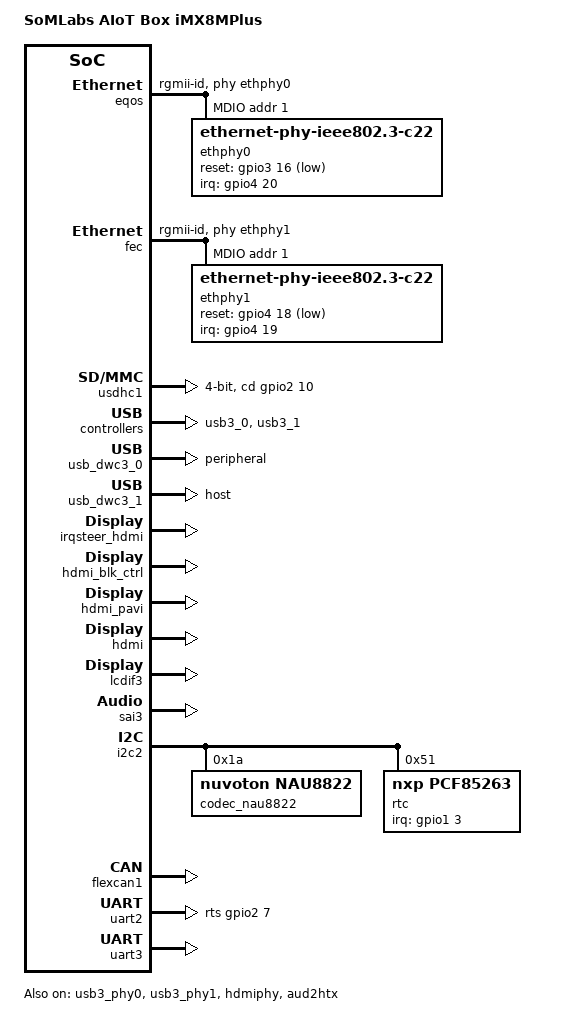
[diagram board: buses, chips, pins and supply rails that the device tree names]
// SPDX-License-Identifier: (GPL-2.0+ OR MIT)
/*
 * Copyright 2026 SomLabs
 *
 */
#include <dt-bindings/leds/common.h>
#include "spacesom-8mplus.dtsi"

/ {
        model = "SoMLabs AIoT Box iMX8MPlus";

        sound {
                /* generic sound card */
                compatible = "simple-audio-card";
                simple-audio-card,name = "nau8822";

                simple-audio-card,widgets =
                        "Headphones", "Headphones",
                        "Line Out", "Line Out",
                        "Speaker", "Speaker",
                        "Microphone", "Mic In";
                simple-audio-card,routing =
                        "Headphones", "LHP",
                        "Headphones", "RHP",
                        "Speaker", "LSPK",
                        "Speaker", "RSPK",
                        "Line Out", "AUXOUT1",
                        "Line Out", "AUXOUT2",
                        "LMICP",    "Mic In",
                        "RMICP",    "Mic In";

                simple-audio-card,format = "i2s";
                simple-audio-card,bitclock-master = <&dailink_master>;
                simple-audio-card,frame-master = <&dailink_master>;

                simple-audio-card,cpu {
                        sound-dai = <&sai3>;
                };

                dailink_master: simple-audio-card,codec {
                        sound-dai = <&codec_nau8822>;
                        clocks = <&audio_blk_ctrl IMX8MP_CLK_AUDIOMIX_SAI3_MCLK1>;
                        clock-names = "mclk";
                };
        };

        sound-hdmi {
                compatible = "fsl,imx-audio-cdnhdmi";
                model = "audio-hdmi";
                audio-cpu = <&aud2htx>;
                hdmi-out;
                constraint-rate = <44100>,
                                <88200>,
                                <176400>,
                                <32000>,
                                <48000>,
                                <96000>,
                                <192000>;
                status = "okay";
        };
};

&eqos {
        pinctrl-names = "default";
        pinctrl-0 = <&pinctrl_eqos>;
        phy-mode = "rgmii-id";
        phy-handle = <&ethphy0>;
        snps,force_thresh_dma_mode;
        snps,mtl-tx-config = <&mtl_tx_setup>;
        snps,mtl-rx-config = <&mtl_rx_setup>;
        status = "okay";

        mdio {
                compatible = "snps,dwmac-mdio";
                #address-cells = <1>;
                #size-cells = <0>;

                ethphy0: ethernet-phy@1 {
                        compatible = "ethernet-phy-ieee802.3-c22";
                        reg = <1>;
                        eee-broken-1000t;
                        reset-gpios = <&gpio3 16 GPIO_ACTIVE_LOW>;
                        reset-assert-us = <10000>;
                        reset-deassert-us = <80000>;
                        realtek,clkout-disable;
                        interrupt-parent = <&gpio4>;
                        interrupts = <20 IRQ_TYPE_LEVEL_LOW>;
                };
        };

        mtl_tx_setup: tx-queues-config {
                snps,tx-queues-to-use = <5>;
                snps,tx-sched-sp;
                queue0 {
                        snps,dcb-algorithm;
                        snps,priority = <0x1>;
                };
                queue1 {
                        snps,dcb-algorithm;
                        snps,priority = <0x2>;
                };
                queue2 {
                        snps,dcb-algorithm;
                        snps,priority = <0x4>;
                };
                queue3 {
                        snps,dcb-algorithm;
                        snps,priority = <0x8>;
                };
                queue4 {
                        snps,dcb-algorithm;
                        snps,priority = <0xf0>;
                };
        };

        mtl_rx_setup: rx-queues-config {
                snps,rx-queues-to-use = <5>;
                snps,rx-sched-sp;
                queue0 {
                        snps,dcb-algorithm;
                        snps,priority = <0x1>;
                        snps,map-to-dma-channel = <0>;
                };
                queue1 {
                        snps,dcb-algorithm;
                        snps,priority = <0x2>;
                        snps,map-to-dma-channel = <1>;
                };
                queue2 {
                        snps,dcb-algorithm;
                        snps,priority = <0x4>;
                        snps,map-to-dma-channel = <2>;
                };
                queue3 {
                        snps,dcb-algorithm;
                        snps,priority = <0x8>;
                        snps,map-to-dma-channel = <3>;
                };
                queue4 {
                        snps,dcb-algorithm;
                        snps,priority = <0xf0>;
                        snps,map-to-dma-channel = <4>;
                };
        };
};

&fec {
        pinctrl-names = "default";
        pinctrl-0 = <&pinctrl_fec>;
        phy-mode = "rgmii-id";
        phy-handle = <&ethphy1>;
        fsl,magic-packet;
        status = "okay";

        mdio {
                #address-cells = <1>;
                #size-cells = <0>;

                ethphy1: ethernet-phy@1 {
                        compatible = "ethernet-phy-ieee802.3-c22";
                        reg = <1>;
                        eee-broken-1000t;
                        reset-gpios = <&gpio4 18 GPIO_ACTIVE_LOW>;
                        reset-assert-us = <10000>;
                        reset-deassert-us = <80000>;
                        realtek,aldps-enable;
                        realtek,clkout-disable;
                        interrupt-parent = <&gpio4>;
                        interrupts = <19 IRQ_TYPE_LEVEL_LOW>;
                };
        };
};

&iomuxc {
        pinctrl-names = "default";
        pinctrl-0 = <&pinctrl_hog>;

        pinctrl_hog: hoggrp {
                fsl,pins = <
                        MX8MP_IOMUXC_HDMI_DDC_SCL__HDMIMIX_HDMI_SCL     0x400001c3
                        MX8MP_IOMUXC_HDMI_DDC_SDA__HDMIMIX_HDMI_SDA     0x400001c3
                        MX8MP_IOMUXC_HDMI_HPD__HDMIMIX_HDMI_HPD         0x40000019
                        MX8MP_IOMUXC_HDMI_CEC__HDMIMIX_HDMI_CEC         0x40000019

                        MX8MP_IOMUXC_GPIO1_IO00__GPIO1_IO00             0x19
                        MX8MP_IOMUXC_GPIO1_IO01__GPIO1_IO01             0x19

                        MX8MP_IOMUXC_GPIO1_IO04__GPIO1_IO04             0x1c0
                        MX8MP_IOMUXC_GPIO1_IO05__GPIO1_IO05             0x1c0
                        MX8MP_IOMUXC_GPIO1_IO06__GPIO1_IO06             0x1c0
                        MX8MP_IOMUXC_GPIO1_IO07__GPIO1_IO07             0x1c0

                        MX8MP_IOMUXC_GPIO1_IO08__GPIO1_IO08             0x19
                        MX8MP_IOMUXC_GPIO1_IO09__GPIO1_IO09             0x19
                        MX8MP_IOMUXC_GPIO1_IO10__GPIO1_IO10             0x19
                        MX8MP_IOMUXC_GPIO1_IO11__GPIO1_IO11             0x19
                >;
        };

        pinctrl_eqos: eqosgrp {
                fsl,pins = <
                        MX8MP_IOMUXC_ENET_MDC__ENET_QOS_MDC                             0x3
                        MX8MP_IOMUXC_ENET_MDIO__ENET_QOS_MDIO                           0x3
                        MX8MP_IOMUXC_ENET_RD0__ENET_QOS_RGMII_RD0                       0x91
                        MX8MP_IOMUXC_ENET_RD1__ENET_QOS_RGMII_RD1                       0x91
                        MX8MP_IOMUXC_ENET_RD2__ENET_QOS_RGMII_RD2                       0x91
                        MX8MP_IOMUXC_ENET_RD3__ENET_QOS_RGMII_RD3                       0x91
                        MX8MP_IOMUXC_ENET_RXC__CCM_ENET_QOS_CLOCK_GENERATE_RX_CLK       0x91
                        MX8MP_IOMUXC_ENET_RX_CTL__ENET_QOS_RGMII_RX_CTL                 0x91
                        MX8MP_IOMUXC_ENET_TD0__ENET_QOS_RGMII_TD0                       0x1f
                        MX8MP_IOMUXC_ENET_TD1__ENET_QOS_RGMII_TD1                       0x1f
                        MX8MP_IOMUXC_ENET_TD2__ENET_QOS_RGMII_TD2                       0x1f
                        MX8MP_IOMUXC_ENET_TD3__ENET_QOS_RGMII_TD3                       0x1f
                        MX8MP_IOMUXC_ENET_TX_CTL__ENET_QOS_RGMII_TX_CTL                 0x1f
                        MX8MP_IOMUXC_ENET_TXC__CCM_ENET_QOS_CLOCK_GENERATE_TX_CLK       0x1f
                        MX8MP_IOMUXC_NAND_READY_B__GPIO3_IO16                           0x19    /* phy reset */
                        MX8MP_IOMUXC_SAI1_MCLK__GPIO4_IO20                              0x41    /* phy int */
                >;
        };

        pinctrl_fec: fecgrp {
                fsl,pins = <
                        MX8MP_IOMUXC_SAI1_RXD2__ENET1_MDC               0x3
                        MX8MP_IOMUXC_SAI1_RXD3__ENET1_MDIO              0x3
                        MX8MP_IOMUXC_SAI1_RXD4__ENET1_RGMII_RD0         0x91
                        MX8MP_IOMUXC_SAI1_RXD5__ENET1_RGMII_RD1         0x91
                        MX8MP_IOMUXC_SAI1_RXD6__ENET1_RGMII_RD2         0x91
                        MX8MP_IOMUXC_SAI1_RXD7__ENET1_RGMII_RD3         0x91
                        MX8MP_IOMUXC_SAI1_TXC__ENET1_RGMII_RXC          0x91
                        MX8MP_IOMUXC_SAI1_TXFS__ENET1_RGMII_RX_CTL      0x91
                        MX8MP_IOMUXC_SAI1_TXD0__ENET1_RGMII_TD0         0x1f
                        MX8MP_IOMUXC_SAI1_TXD1__ENET1_RGMII_TD1         0x1f
                        MX8MP_IOMUXC_SAI1_TXD2__ENET1_RGMII_TD2         0x1f
                        MX8MP_IOMUXC_SAI1_TXD3__ENET1_RGMII_TD3         0x1f
                        MX8MP_IOMUXC_SAI1_TXD4__ENET1_RGMII_TX_CTL      0x1f
                        MX8MP_IOMUXC_SAI1_TXD5__ENET1_RGMII_TXC         0x1f
                        MX8MP_IOMUXC_SAI1_TXD6__GPIO4_IO18              0x19    /* phy reset */
                        MX8MP_IOMUXC_SAI1_TXD7__GPIO4_IO19              0x41    /* phy int */
                >;
        };

        pinctrl_fec_1588: fec1588grp {
                fsl,pins = <
                        MX8MP_IOMUXC_SAI1_RXFS__ENET1_1588_EVENT0_IN    0x91
                        MX8MP_IOMUXC_SAI1_RXC__ENET1_1588_EVENT0_OUT    0x1f
                        MX8MP_IOMUXC_SAI1_RXD0__ENET1_1588_EVENT1_IN    0x91
                        MX8MP_IOMUXC_SAI1_RXD1__ENET1_1588_EVENT1_OUT   0x1f
                >;
        };

        pinctrl_rtc: rtcirq {
                fsl,pins = <
                        MX8MP_IOMUXC_GPIO1_IO03__GPIO1_IO03             0x1c0
                >;
        };

        pinctrl_sai3: sai3grp {
                fsl,pins = <
                        MX8MP_IOMUXC_SAI3_RXFS__AUDIOMIX_SAI3_RX_SYNC   0xd6
                        MX8MP_IOMUXC_SAI3_RXC__AUDIOMIX_SAI3_RX_BCLK    0xd6
                        MX8MP_IOMUXC_SAI3_RXD__AUDIOMIX_SAI3_RX_DATA00  0xd6
                        MX8MP_IOMUXC_SAI3_TXD__AUDIOMIX_SAI3_TX_DATA00  0xd6
                        MX8MP_IOMUXC_SAI3_MCLK__AUDIOMIX_SAI3_MCLK      0xd6
                >;
        };

        pinctrl_usdhc1_gpio: usdhc1gpiogrp {
                fsl,pins = <
                        MX8MP_IOMUXC_SD1_RESET_B__GPIO2_IO10            0x1c4
                >;
        };

        pinctrl_usdhc1: usdhc1grp {
                fsl,pins = <
                        MX8MP_IOMUXC_SD1_CLK__USDHC1_CLK                0x190
                        MX8MP_IOMUXC_SD1_CMD__USDHC1_CMD                0x1d0
                        MX8MP_IOMUXC_SD1_DATA0__USDHC1_DATA0            0x1d0
                        MX8MP_IOMUXC_SD1_DATA1__USDHC1_DATA1            0x1d0
                        MX8MP_IOMUXC_SD1_DATA2__USDHC1_DATA2            0x1d0
                        MX8MP_IOMUXC_SD1_DATA3__USDHC1_DATA3            0x1d0
                >;
        };

        pinctrl_uart2_rts: uart2rtsgrp {
                fsl,pins = <
                        MX8MP_IOMUXC_SD1_DATA5__GPIO2_IO07              0x19
                >;
        };
};

&usdhc1 {
        assigned-clocks = <&clk IMX8MP_CLK_USDHC1>;
        assigned-clock-rates = <400000000>;
        pinctrl-names = "default";
        pinctrl-0 = <&pinctrl_usdhc1>, <&pinctrl_usdhc1_gpio>;
        cd-gpios = <&gpio2 10 GPIO_ACTIVE_HIGH>;
        no-1-8-v;
        bus-width = <4>;
        fsl,delay-line = <8>;
        status = "okay";
};

&usb3_phy0 {
        status = "okay";
};

&usb3_0 {
        status = "okay";
};

&usb_dwc3_0 {
        hnp-disable;
        srp-disable;
        adp-disable;
        dr_mode = "peripheral";
        status = "okay";
};

&usb3_phy1 {
        status = "okay";
};

&usb3_1 {
        status = "okay";
};

&usb_dwc3_1 {
        pinctrl-names = "default";
        pinctrl-0 = <&pinctrl_usb1_vbus>;
        dr_mode = "host";
        status = "okay";
};

&irqsteer_hdmi {
        status = "okay";
};

&hdmi_blk_ctrl {
        status = "okay";
};

&hdmi_pavi {
        status = "okay";
};

&hdmi {
        status = "okay";
};

&hdmiphy {
        status = "okay";
};

&aud2htx {
	status = "okay";
};

&lcdif3 {
        status = "okay";

        thres-low  = <1 2>;             /* (FIFO * 1 / 2) */
        thres-high = <3 4>;             /* (FIFO * 3 / 4) */
};

&sai3 {
        pinctrl-names = "default";
        pinctrl-0 = <&pinctrl_sai3>;
        assigned-clocks = <&clk IMX8MP_CLK_SAI3>;
        assigned-clock-parents = <&clk IMX8MP_AUDIO_PLL1_OUT>;
        assigned-clock-rates = <12288000>;
        clocks = <&audio_blk_ctrl IMX8MP_CLK_AUDIOMIX_SAI3_IPG>, <&clk IMX8MP_CLK_DUMMY>,
                 <&audio_blk_ctrl IMX8MP_CLK_AUDIOMIX_SAI3_MCLK1>, <&clk IMX8MP_CLK_DUMMY>,
                 <&clk IMX8MP_CLK_DUMMY>;
        clock-names = "bus", "mclk0", "mclk1", "mclk2", "mclk3";
        fsl,sai-synchronous-rx;
        fsl,sai-mclk-direction-output;
        #sound-dai-cells = <0>;
        status = "okay";
};

&i2c2 {
        status = "okay";
        codec_nau8822: nau8822@1a {
                compatible = "nuvoton,nau8822";
                reg = <0x1a>;
                clocks = <&audio_blk_ctrl IMX8MP_CLK_AUDIOMIX_SAI3_MCLK1>;
                clock-names = "mclk";
                #sound-dai-cells = <0>;
                status = "okay";
        };

        rtc@51 {
            compatible = "nxp,pcf85263";
            reg = <0x51>;
            pinctrl-0 = <&pinctrl_rtc>;
            pinctrl-names = "default";
            interrupt-parent = <&gpio1>;
            interrupts = <3 IRQ_TYPE_LEVEL_LOW>;
            wakeup-source;
        };
};

&flexcan1 {
        status = "okay";
};

&uart2 {
    pinctrl-0 = <&pinctrl_uart2 &pinctrl_uart2_rts>;
    rts-gpios = <&gpio2 7 GPIO_ACTIVE_HIGH>;
    linux,rs485-enabled-at-boot-time;
    status = "okay";
};

&uart3 {
    status = "okay";
};
